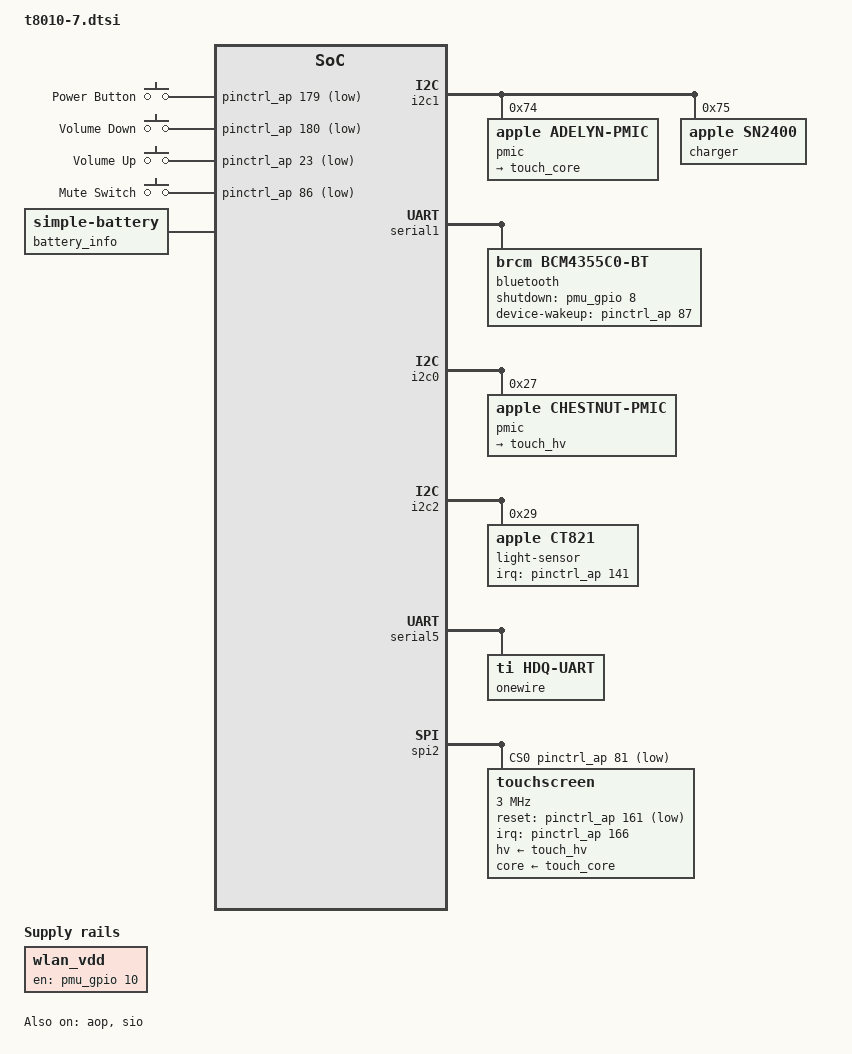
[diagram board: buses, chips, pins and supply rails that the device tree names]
// SPDX-License-Identifier: GPL-2.0+ OR MIT
/*
 * Apple iPhone 7 / 7 Plus common device tree
 *
 * Copyright (c) 2022, Konrad Dybcio <konradybcio@kernel.org>
 */

#include "t8010.dtsi"
#include "t8010-common.dtsi"
#include <dt-bindings/input/input.h>

/ {
	chassis-type = "handset";

	aliases {
		bluetooth0 = &bluetooth;
	};

	gpio-keys {
		compatible = "gpio-keys";

		button-power {
			label = "Power Button";
			gpios = <&pinctrl_ap 179 GPIO_ACTIVE_LOW>;
			linux,code = <KEY_POWER>;
			wakeup-source;
		};

		button-voldown {
			label = "Volume Down";
			gpios = <&pinctrl_ap 180 GPIO_ACTIVE_LOW>;
			linux,code = <KEY_VOLUMEDOWN>;
		};

		button-volup {
			label = "Volume Up";
			gpios = <&pinctrl_ap 23 GPIO_ACTIVE_LOW>;
			linux,code = <KEY_VOLUMEUP>;
		};

		switch-mute {
			label = "Mute Switch";
			gpios = <&pinctrl_ap 86 GPIO_ACTIVE_LOW>;
			linux,code = <KEY_MUTE>;
		};
	};
};

&framebuffer0 {
	power-domains = <&ps_disp0_fe &ps_disp0_be &ps_mipi_dsi>;
};

&hurricane_opp09 {
	status = "okay";
};

&hurricane_opp10 {
	status = "okay";
};

&i2c1 {
	status = "okay";

	pmic@74 {
		compatible = "apple,adelyn-pmic", "apple,i2c-pmic";
		reg = <0x74>;
		#address-cells = <1>;
		#size-cells = <1>;

		touch_core: regulator-touch-core {
			compatible = "apple,adelyn-touch-core-regulator";
			regulator-name = "touch-core";
		};

		pmu_gpio: gpio {
			compatible = "apple,d2333-pmic-gpio";
			gpio-controller;
			#gpio-cells = <2>;
			gpio-reserved-ranges = <0 8>, <9 1>, <12 9>;
		};

		rtc@500 {
			compatible = "apple,adelyn-pmic-rtc", "apple,antigua-pmic-rtc";
			reg = <0x500 0x10>;
			nvmem-cells = <&rtc_offset>;
			nvmem-cell-names = "rtc_offset";
		};

		nvmem@5000 {
			compatible = "apple,pmic-nvmem";
			reg = <0x5000 0x28>;

			nvmem-layout {
				compatible = "fixed-layout";
				#address-cells = <1>;
				#size-cells = <1>;

				rtc_offset: rtc-offset@4 {
					reg = <0x4 0x4>;
				};
			};
		};
	};
};

&pinctrl_ap {
	bluetooth_uart1_pins: bluetooth-uart1-pins {
		pinmux = <APPLE_PINMUX(96, 1)>,
			 <APPLE_PINMUX(97, 1)>,
			 <APPLE_PINMUX(98, 1)>,
			 <APPLE_PINMUX(99, 1)>;
	};
};

&serial1 {
	pinctrl-0 = <&bluetooth_uart1_pins>;
	pinctrl-names = "default";
	uart-has-rtscts;
	status = "okay";

	bluetooth: bluetooth {
		compatible = "brcm,bcm4355c0-bt", "brcm,bcm4345c5";
		current-speed = <115200>;
		max-speed = <1500000>;
		shutdown-gpios = <&pmu_gpio 8 GPIO_ACTIVE_HIGH>;
		device-wakeup-gpios = <&pinctrl_ap 87 GPIO_ACTIVE_HIGH>;
	};
};

/* The adopted MIPI DSI panel link cannot be restored after power loss. */
&ps_mipi_dsi {
	apple,always-on;
	apple,manual-pm;
};

/*
 * The parts below are the same on all four iPhone 7 models: Apple's device
 * trees (iOS 15.8.8 DeviceTree.d10ap, d101ap, d11ap, d111ap) give them the
 * same pins, buses, addresses and power functions. Each board names its own
 * touch firmware, panel size and Wi-Fi module, and the PCIe port its Wi-Fi
 * sits on: port 3 on the Qualcomm models (D10, D11), port 2 on the Intel
 * models (D101, D111), whose port 3 holds the baseband.
 */
/ {
	aliases {
		touchscreen0 = &touchscreen;
		wifi0 = &wifi0;
	};

	battery_info: battery {
		compatible = "simple-battery";
		constant-charge-current-max-microamp = <1950000>;
	};

	wlan_vdd: regulator-wlan-vdd {
		compatible = "regulator-fixed";
		regulator-name = "wlan-vdd";
		gpio = <&pmu_gpio 10 GPIO_ACTIVE_HIGH>;
		enable-active-high;
		off-on-delay-us = <2500>;
	};
};

/*
 * Apple's iPhone 7 AOP firmware (aopfw-t8010aop) serves the accelerometer,
 * gyroscope, compass and pressure sensor. Its mount-matrix has not been
 * measured on a phone yet, so the sensors report in the AOP's own frame.
 */
&aop {
	firmware-name = "apple/aop-t8010.bin", "apple/aop-t8010-ext.bin";
	status = "okay";
};

/* No audio service in the iPhone 7 AOP: the microphones are on the codec. */
&aop_audio {
	status = "disabled";
};

&aop_mbox {
	status = "okay";
};

&bluetooth {
	apple,wlan = <&wifi0>;
};

&i2c0 {
	status = "okay";

	pmic@27 {
		compatible = "apple,chestnut-pmic";
		reg = <0x27>;
		#address-cells = <1>;
		#size-cells = <1>;

		touch_hv: regulator-touch-hv {
			compatible = "apple,chestnut-touch-hv-regulator";
			regulator-name = "touch-hv";
		};
	};
};

&i2c1 {
	charger@75 {
		compatible = "apple,sn2400";
		reg = <0x75>;

		sn2400_charger: charger {
			compatible = "apple,sn2400-charger";
			monitored-battery = <&battery_info>;
			input-current-limit-microamp = <2000000>;
			mux-states = <&hdq_mux 0>;
			mux-state-names = "hdq";
		};

		hdq_mux: hdq-mux {
			compatible = "apple,sn2400-hdq-mux";
			#mux-state-cells = <1>;
		};
	};
};

&i2c2 {
	status = "okay";

	light-sensor@29 {
		compatible = "apple,ct821", "amstaos,tsl2581";
		reg = <0x29>;
		interrupts-extended = <&pinctrl_ap 141 IRQ_TYPE_LEVEL_LOW>;
	};
};

&pinctrl_ap {
	battery_swi_pins: battery-swi-pins {
		pinmux = <APPLE_PINMUX(173, 1)>;
	};
};

&serial5 {
	pinctrl-0 = <&battery_swi_pins>;
	pinctrl-names = "default";
	status = "okay";

	onewire {
		compatible = "ti,hdq-uart";
		mux-states = <&hdq_mux 1>;
		mux-state-names = "hdq";

		fuel_gauge: fuel-gauge {
			compatible = "ti,bq27545-hdq";
			monitored-battery = <&battery_info>;
		};
	};
};

&spi2 {
	cs-gpios = <&pinctrl_ap 81 GPIO_ACTIVE_LOW>;
	dmas = <&sio 0x18>;
	dma-names = "tx";
	status = "okay";

	touchscreen: touchscreen@0 {
		reg = <0>;
		spi-max-frequency = <3000000>;
		spi-cpol;
		spi-cpha;
		apple,z2-no-init-ack;
		interrupts-extended = <&pinctrl_ap 166 IRQ_TYPE_EDGE_FALLING>;
		reset-gpios = <&pinctrl_ap 161 GPIO_ACTIVE_LOW>;
		hv-supply = <&touch_hv>;
		core-supply = <&touch_core>;
		clocks = <&touchclk>;
	};
};

&sio {
	status = "okay";
};

&touchclk {
	clock-frequency = <32768>;
};

/* The USB device controller tells the SN2400 driver what the USB host allows. */
&usbdev {
	usb-psy-name = "usb";
};
